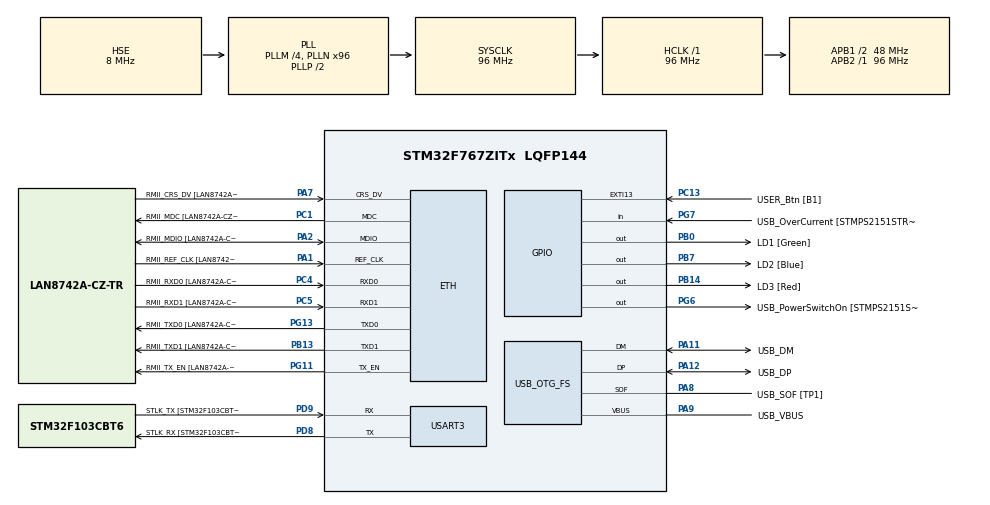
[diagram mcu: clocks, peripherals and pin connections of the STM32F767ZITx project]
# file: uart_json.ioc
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CORTEX_M7.default_mode_Activation=1
ETH.MediaInterface=HAL_ETH_RMII_MODE
ETH.PHY_Name=LAN8742A_PHY_ADDRESS
ETH.PHY_Value=0
ETH.PhyAddress=0
Mcu.Family=STM32F7
Mcu.Name=STM32F767ZITx
Mcu.Package=LQFP144
NVIC.PriorityGroup=NVIC_PRIORITYGROUP_4
NVIC.USART3_IRQn=true\:0\:0\:false\:false\:true\:true\:true\:true
PA1.GPIO_Label=RMII_REF_CLK [LAN8742A-CZ-TR_REFCLK0]
PA1.Mode=RMII
PA1.Signal=ETH_REF_CLK
PA10.GPIO_Label=USB_ID
PA10.Signal=USB_OTG_FS_ID
PA11.GPIO_Label=USB_DM
PA11.Mode=Device_Only
PA11.Signal=USB_OTG_FS_DM
PA12.GPIO_Label=USB_DP
PA12.Mode=Device_Only
PA12.Signal=USB_OTG_FS_DP
PA13.GPIO_Label=TMS
PA13.Mode=Serial_Wire
PA13.Signal=SYS_JTMS-SWDIO
PA14.GPIO_Label=TCK
PA14.Mode=Serial_Wire
PA14.Signal=SYS_JTCK-SWCLK
PA2.GPIO_Label=RMII_MDIO [LAN8742A-CZ-TR_MDIO]
PA2.Mode=RMII
PA2.Signal=ETH_MDIO
PA7.GPIO_Label=RMII_CRS_DV [LAN8742A-CZ-TR_CRS_DV]
PA7.Mode=RMII
PA7.Signal=ETH_CRS_DV
PA8.GPIO_Label=USB_SOF [TP1]
PA8.Mode=Activate_SOF_FS
PA8.Signal=USB_OTG_FS_SOF
PA9.GPIO_Label=USB_VBUS
PA9.Mode=Activate_VBUS
PA9.Signal=USB_OTG_FS_VBUS
PB0.GPIO_Label=LD1 [Green]
PB0.Signal=GPIO_Output
PB13.GPIO_Label=RMII_TXD1 [LAN8742A-CZ-TR_TXD1]
PB13.Mode=RMII
PB13.Signal=ETH_TXD1
PB14.GPIO_Label=LD3 [Red]
PB14.Signal=GPIO_Output
PB3.GPIO_Label=SWO
PB3.Signal=SYS_JTDO-SWO
PB7.GPIO_Label=LD2 [Blue]
PB7.Signal=GPIO_Output
PC1.GPIO_Label=RMII_MDC [LAN8742A-CZ-TR_MDC]
PC1.Mode=RMII
PC1.Signal=ETH_MDC
PC13.GPIO_Label=USER_Btn [B1]
PC13.Signal=GPXTI13
PC14/OSC32_IN.Mode=LSE-External-Oscillator
PC14/OSC32_IN.Signal=RCC_OSC32_IN
PC15/OSC32_OUT.Mode=LSE-External-Oscillator
PC15/OSC32_OUT.Signal=RCC_OSC32_OUT
PC4.GPIO_Label=RMII_RXD0 [LAN8742A-CZ-TR_RXD0]
PC4.Mode=RMII
PC4.Signal=ETH_RXD0
PC5.GPIO_Label=RMII_RXD1 [LAN8742A-CZ-TR_RXD1]
PC5.Mode=RMII
PC5.Signal=ETH_RXD1
PD8.GPIO_Label=STLK_RX [STM32F103CBT6_PA3]
PD8.Mode=Asynchronous
PD8.Signal=USART3_TX
PD9.GPIO_Label=STLK_TX [STM32F103CBT6_PA2]
PD9.Mode=Asynchronous
PD9.Signal=USART3_RX
PG11.GPIO_Label=RMII_TX_EN [LAN8742A-CZ-TR_TXEN]
PG11.Mode=RMII
PG11.Signal=ETH_TX_EN
PG13.GPIO_Label=RMII_TXD0 [LAN8742A-CZ-TR_TXD0]
PG13.Mode=RMII
PG13.Signal=ETH_TXD0
PG6.GPIO_Label=USB_PowerSwitchOn [STMPS2151STR_EN]
PG6.Signal=GPIO_Output
PG7.GPIO_Label=USB_OverCurrent [STMPS2151STR_FAULT]
PG7.Signal=GPIO_Input
PH0/OSC_IN.GPIO_Label=MCO [STM32F103CBT6_PA8]
PH0/OSC_IN.Mode=HSE-External-Clock-Source
PH0/OSC_IN.Signal=RCC_OSC_IN
PH1/OSC_OUT.Mode=HSE-External-Clock-Source
PH1/OSC_OUT.Signal=RCC_OSC_OUT
ProjectManager.HeapSize=0x200
ProjectManager.StackSize=0x400
ProjectManager.TargetToolchain=CMake
RCC.48MHZClocksFreq_Value=24000000
RCC.AHBFreq_Value=96000000
RCC.APB1CLKDivider=RCC_HCLK_DIV2
RCC.APB1Freq_Value=48000000
RCC.APB1TimFreq_Value=96000000
RCC.APB2Freq_Value=96000000
RCC.APB2TimFreq_Value=96000000
RCC.CortexFreq_Value=96000000
RCC.HCLKFreq_Value=96000000
RCC.HSE_VALUE=8000000
RCC.HSI_VALUE=16000000
RCC.PLLM=4
RCC.PLLMUL=RCC_PLL_MUL9
RCC.PLLN=96
RCC.PLLQ=4
RCC.PRESCALERUSB=RCC_USBCLKSOURCE_PLL_DIV1_5
RCC.SYSCLKFreq_VALUE=96000000
RCC.SYSCLKSource=RCC_SYSCLKSOURCE_PLLCLK
RCC.SYSCLKSourceVirtual=RCC_SYSCLKSOURCE_PLLCLK
RCC.USBFreq_Value=48000000
RCC.VCOOutputFreq_Value=192000000
USART3.VirtualMode-Asynchronous=VM_ASYNC
USB_OTG_FS.VirtualMode=Device_Only
board=NUCLEO-F767ZI

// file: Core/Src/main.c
/* USER CODE BEGIN Header */
/**
  ******************************************************************************
  * @file           : main.c
  * @brief          : Main program body
  ******************************************************************************
  * @attention
  *
  * Copyright (c) 2026 STMicroelectronics.
  * All rights reserved.
  *
  * This software is licensed under terms that can be found in the LICENSE file
  * in the root directory of this software component.
  * If no LICENSE file comes with this software, it is provided AS-IS.
  *
  ******************************************************************************
  */
/* USER CODE END Header */
#include "main.h"
#include "eth.h"
#include "stm32f7xx_hal_uart.h"
#include "usart.h"
#include "usb_otg.h"
#include "gpio.h"

/* USER CODE BEGIN Includes */
#include "cJSON.h"
#include <stdint.h>
#include "string.h"
/* USER CODE END Includes */

/* USER CODE BEGIN PD */
#define RX_BUFFER_SIZE 24
/* USER CODE END PD */

/* USER CODE BEGIN PV */
uint8_t rx_buffer[RX_BUFFER_SIZE];
volatile uint8_t messeage_received_flag = 0;
/* USER CODE END PV */

void SystemClock_Config(void);
static void MPU_Config(void);

/* USER CODE BEGIN 0 */
void HAL_UART_RxCpltCallback(UART_HandleTypeDef *huart)
{
  if(huart->Instance == USART3)
  {
    messeage_received_flag = 1;
    rx_buffer[RX_BUFFER_SIZE-1] = '\0'; // Null-terminate the received string
  }
}
/* USER CODE END 0 */

int main(void)
{

  /* MPU Configuration--------------------------------------------------------*/
  MPU_Config();

  /* MCU Configuration--------------------------------------------------------*/

  /* Reset of all peripherals, Initializes the Flash interface and the Systick. */
  HAL_Init();

  /* Configure the system clock */
  SystemClock_Config();

  /* Initialize all configured peripherals */
  MX_GPIO_Init();
  MX_ETH_Init();
  MX_USART3_UART_Init();
  MX_USB_OTG_FS_PCD_Init();
  /* USER CODE BEGIN 2 */
  HAL_UART_Receive_IT(&huart3, rx_buffer, RX_BUFFER_SIZE-1);
  /* USER CODE END 2 */

  /* Infinite loop */
  /* USER CODE BEGIN WHILE */
  while (1)
  {
    if(messeage_received_flag)
    {
      messeage_received_flag = 0;

      // Parse the received JSON string
      cJSON *json = cJSON_Parse((char *)rx_buffer);
      if (json == NULL)
      {
        // Handle JSON parsing error
        const char *error_ptr = cJSON_GetErrorPtr();
        if (error_ptr != NULL)
        {
          // Print error message or handle it as needed
        }
      }
      else
      {
        cJSON * led = cJSON_GetObjectItemCaseSensitive(json, "LED");
        cJSON * state = cJSON_GetObjectItemCaseSensitive(json, "STATE");
        if(cJSON_IsString(led) && (led->valuestring != NULL) &&
           cJSON_IsNumber(state))
        {
          GPIO_PinState pin_state;

          if (state->valueint == 1)
          {
              pin_state = GPIO_PIN_SET;
          }
          else if (state->valueint == 0)
          {
              pin_state = GPIO_PIN_RESET;
          }
          else
          {
              cJSON_Delete(json);
          }

          if (strcmp(led->valuestring, "LD1") == 0)
          {
              HAL_GPIO_WritePin(LD1_GPIO_Port, LD1_Pin, pin_state);
          }
          else if (strcmp(led->valuestring, "LD2") == 0)
          {
              HAL_GPIO_WritePin(LD2_GPIO_Port, LD2_Pin, pin_state);
          }
          else if (strcmp(led->valuestring, "LD3") == 0)
          {
              HAL_GPIO_WritePin(LD3_GPIO_Port, LD3_Pin, pin_state);
          }
        }

        // Don't forget to free the JSON object after use
        cJSON_Delete(json);
      }

      // Restart UART reception for the next message
      HAL_UART_Receive_IT(&huart3, rx_buffer, RX_BUFFER_SIZE-1);
    }
    /* USER CODE END WHILE */

  }
}

void SystemClock_Config(void)
{
  RCC_OscInitTypeDef RCC_OscInitStruct = {0};
  RCC_ClkInitTypeDef RCC_ClkInitStruct = {0};

  /** Configure LSE Drive Capability
  */
  HAL_PWR_EnableBkUpAccess();

  /** Configure the main internal regulator output voltage
  */
  __HAL_RCC_PWR_CLK_ENABLE();
  __HAL_PWR_VOLTAGESCALING_CONFIG(PWR_REGULATOR_VOLTAGE_SCALE3);

  /** Initializes the RCC Oscillators according to the specified parameters
  * in the RCC_OscInitTypeDef structure.
  */
  RCC_OscInitStruct.OscillatorType = RCC_OSCILLATORTYPE_HSE;
  RCC_OscInitStruct.HSEState = RCC_HSE_BYPASS;
  RCC_OscInitStruct.PLL.PLLState = RCC_PLL_ON;
  RCC_OscInitStruct.PLL.PLLSource = RCC_PLLSOURCE_HSE;
  RCC_OscInitStruct.PLL.PLLM = 4;
  RCC_OscInitStruct.PLL.PLLN = 96;
  RCC_OscInitStruct.PLL.PLLP = RCC_PLLP_DIV2;
  RCC_OscInitStruct.PLL.PLLQ = 4;
  RCC_OscInitStruct.PLL.PLLR = 2;
  if (HAL_RCC_OscConfig(&RCC_OscInitStruct) != HAL_OK)
  {
    Error_Handler();
  }

  /** Activate the Over-Drive mode
  */
  if (HAL_PWREx_EnableOverDrive() != HAL_OK)
  {
    Error_Handler();
  }

  /** Initializes the CPU, AHB and APB buses clocks
  */
  RCC_ClkInitStruct.ClockType = RCC_CLOCKTYPE_HCLK|RCC_CLOCKTYPE_SYSCLK
                              |RCC_CLOCKTYPE_PCLK1|RCC_CLOCKTYPE_PCLK2;
  RCC_ClkInitStruct.SYSCLKSource = RCC_SYSCLKSOURCE_PLLCLK;
  RCC_ClkInitStruct.AHBCLKDivider = RCC_SYSCLK_DIV1;
  RCC_ClkInitStruct.APB1CLKDivider = RCC_HCLK_DIV2;
  RCC_ClkInitStruct.APB2CLKDivider = RCC_HCLK_DIV1;

  if (HAL_RCC_ClockConfig(&RCC_ClkInitStruct, FLASH_LATENCY_3) != HAL_OK)
  {
    Error_Handler();
  }
}

 /* MPU Configuration */

void MPU_Config(void)
{
  MPU_Region_InitTypeDef MPU_InitStruct = {0};

  /* Disables the MPU */
  HAL_MPU_Disable();

  /** Initializes and configures the Region and the memory to be protected
  */
  MPU_InitStruct.Enable = MPU_REGION_ENABLE;
  MPU_InitStruct.Number = MPU_REGION_NUMBER0;
  MPU_InitStruct.BaseAddress = 0x0;
  MPU_InitStruct.Size = MPU_REGION_SIZE_4GB;
  MPU_InitStruct.SubRegionDisable = 0x87;
  MPU_InitStruct.TypeExtField = MPU_TEX_LEVEL0;
  MPU_InitStruct.AccessPermission = MPU_REGION_NO_ACCESS;
  MPU_InitStruct.DisableExec = MPU_INSTRUCTION_ACCESS_DISABLE;
  MPU_InitStruct.IsShareable = MPU_ACCESS_SHAREABLE;
  MPU_InitStruct.IsCacheable = MPU_ACCESS_NOT_CACHEABLE;
  MPU_InitStruct.IsBufferable = MPU_ACCESS_NOT_BUFFERABLE;

  HAL_MPU_ConfigRegion(&MPU_InitStruct);
  /* Enables the MPU */
  HAL_MPU_Enable(MPU_PRIVILEGED_DEFAULT);

}

void Error_Handler(void)
{
  __disable_irq();
  while (1)
  {
  }
}
